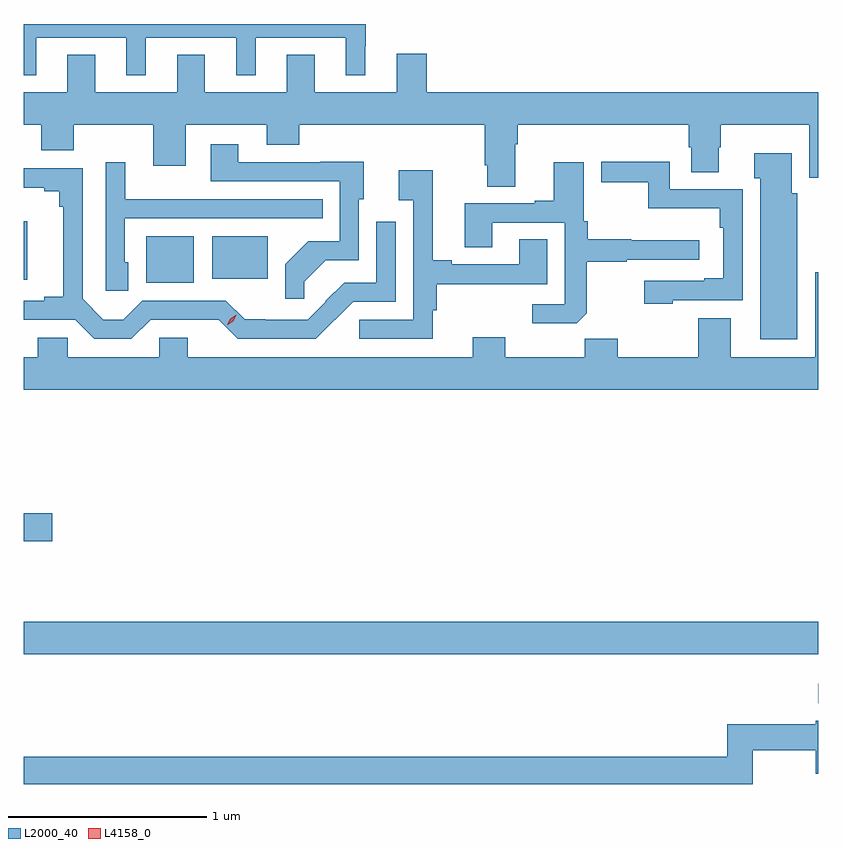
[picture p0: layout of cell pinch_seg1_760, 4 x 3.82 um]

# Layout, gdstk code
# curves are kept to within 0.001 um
import gdstk
lib = gdstk.Library(unit=1e-6, precision=1e-09)
def R(c, l, rs):  # rectangles x0, y0, x1, y1
    for r in rs: c.add(gdstk.rectangle(r[:2], r[2:], *l))
def P(c, l, *ps):  # polygons
    for p in ps: c.add(gdstk.Polygon(p, *l))
L2000_40 = (2000, 40)
L4158_0 = (4158, 0)

pinch_seg1_760 = lib.new_cell('pinch_seg1_760')
R(pinch_seg1_760, L2000_40, [(856.233,515.523,856.234,515.62), (852.234,515.768,856.234,515.932), (852.234,516.337,852.379,516.479), (852.851,517.637,853.09,517.873), (852.234,517.652,852.253,517.948), (853.184,517.658,853.462,517.873)])
P(pinch_seg1_760, L2000_40, [(852.298,518.871),(852.752,518.871),(852.752,518.681),(852.85,518.681),(852.85,518.871),(853.304,518.871),(853.304,518.681),(853.402,518.681),(853.402,518.871),(853.856,518.871),(853.856,518.681),(853.954,518.681),(853.954,518.828),(853.956,518.828),(853.956,518.94),(852.234,518.94),(852.234,518.681),(852.298,518.681)],
  [(852.595,518.786),(852.455,518.786),(852.455,518.596),(852.234,518.596),(852.234,518.432),(852.323,518.432),(852.323,518.304),(852.487,518.304),(852.487,518.432),(852.887,518.432),(852.887,518.226),(853.051,518.226),(853.051,518.432),(853.457,518.432),(853.457,518.333),(853.621,518.333),(853.621,518.432),(854.555,518.432),(854.555,518.23),(854.567,518.23),(854.567,518.122),(854.707,518.122),(854.707,518.336),(854.72,518.336),(854.72,518.432),(855.581,518.432),(855.581,518.319),(855.593,518.319),(855.593,518.194),(855.733,518.194),(855.733,518.319),(855.741,518.319),(855.741,518.432),(856.187,518.432),(856.187,518.166),(856.234,518.166),(856.234,518.596),(854.264,518.596),(854.264,518.791),(854.111,518.791),(854.111,518.596),(853.699,518.596),(853.699,518.786),(853.559,518.786),(853.559,518.596),(853.147,518.596),(853.147,518.786),(853.007,518.786),(853.007,518.596),(852.595,518.596)],
  [(853.646,517.644),(853.754,517.752),(853.92,517.752),(853.92,518.058),(853.945,518.058),(853.945,518.246),(853.727,518.246),(853.727,518.244),(853.315,518.244),(853.315,518.335),(853.175,518.335),(853.175,518.148),(853.824,518.148),(853.824,517.848),(853.667,517.848),(853.551,517.732),(853.551,517.557),(853.646,517.557)],
  [(856.126,518.088),(856.099,518.088),(856.099,518.29),(855.911,518.29),(855.911,518.165),(855.941,518.165),(855.941,517.355),(856.126,517.355)],
  [(855.501,517.551),(855.852,517.551),(855.852,518.109),(855.486,518.109),(855.486,518.246),(855.141,518.246),(855.141,518.143),(855.378,518.143),(855.378,518.012),(855.736,518.012),(855.736,517.916),(855.756,517.916),(855.756,517.66),(855.659,517.66),(855.659,517.647),(855.357,517.647),(855.357,517.532),(855.501,517.532)],
  [(852.76,517.74),(852.744,517.74),(852.744,517.962),(853.739,517.962),(853.739,518.058),(853.079,518.058),(853.079,518.059),(852.745,518.059),(852.745,518.245),(852.648,518.245),(852.648,517.597),(852.76,517.597)],
  [(855.069,517.485),(855.069,517.743),(855.269,517.743),(855.269,517.755),(855.634,517.755),(855.634,517.852),(855.293,517.852),(855.293,517.856),(855.074,517.856),(855.074,517.948),(855.054,517.948),(855.054,518.245),(854.903,518.245),(854.903,518.05),(854.807,518.05),(854.807,518.037),(854.453,518.037),(854.453,517.816),(854.593,517.816),(854.593,517.941),(854.958,517.941),(854.958,517.53),(854.793,517.53),(854.793,517.434),(855.017,517.434)],
  [(852.873,517.452),(853.217,517.451),(853.311,517.356),(853.705,517.356),(853.893,517.542),(854.106,517.542),(854.106,517.945),(854.01,517.945),(854.01,517.638),(853.847,517.638),(853.753,517.544),(853.755,517.542),(853.665,517.452),(853.45,517.452),(853.45,517.454),(853.346,517.454),(853.251,517.548),(852.831,517.548),(852.736,517.453),(852.635,517.453),(852.531,517.557),(852.531,518.214),(852.234,518.214),(852.234,518.117),(852.338,518.117),(852.338,518.098),(852.415,518.098),(852.415,518.021),(852.434,518.021),(852.434,517.568),(852.338,517.568),(852.338,517.548),(852.234,517.548),(852.234,517.451),(852.494,517.452),(852.59,517.356),(852.777,517.356)],
  [(854.294,517.499),(854.312,517.499),(854.312,517.63),(854.869,517.63),(854.869,517.856),(854.729,517.856),(854.729,517.731),(854.389,517.731),(854.389,517.751),(854.293,517.751),(854.293,518.203),(854.121,518.203),(854.121,518.054),(854.196,518.054),(854.196,517.452),(853.923,517.452),(853.923,517.356),(854.294,517.356)],
  [(856.234,517.69),(856.217,517.69),(856.217,517.264),(855.793,517.264),(855.793,517.459),(855.629,517.459),(855.629,517.264),(855.223,517.264),(855.223,517.357),(855.059,517.357),(855.059,517.264),(854.659,517.264),(854.659,517.363),(854.495,517.363),(854.495,517.264),(853.06,517.264),(853.06,517.362),(852.918,517.362),(852.918,517.264),(852.456,517.264),(852.456,517.362),(852.305,517.362),(852.305,517.264),(852.234,517.264),(852.234,517.1),(856.234,517.1)],
  [(855.904,515.287),(856.22,515.287),(856.22,515.168),(856.234,515.168),(856.234,515.434),(856.22,515.434),(856.22,515.416),(855.775,515.416),(855.775,515.252),(852.234,515.252),(852.234,515.116),(855.904,515.116)])
P(pinch_seg1_760, L4158_0, [(853.258,517.423),(853.258,517.423),(853.273,517.457),(853.304,517.478),(853.304,517.478),(853.304,517.478),(853.289,517.444),(853.258,517.423)])

lib.write_gds('pinch_seg1_760.gds')
